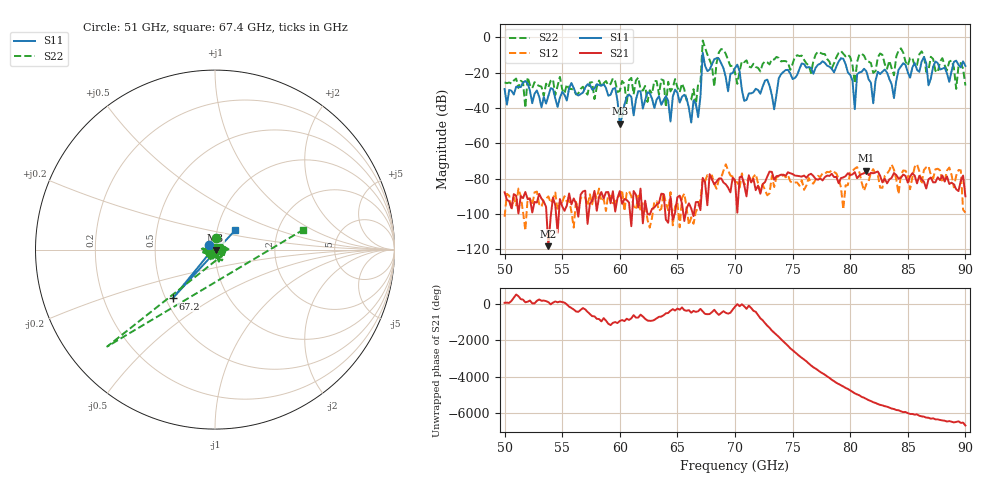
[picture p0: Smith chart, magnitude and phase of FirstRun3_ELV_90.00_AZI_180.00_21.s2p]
! 11/24/2026 3:36:22 PM
! C:\ANRITSUVNA\TEMP\TEMP.S2P
! CHANNEL.1
! TR.MEASUREMENT
! RAW.DATA
# HZ S RI R 50.0
! FREQ.HZ  S11RE  S11IM  S21RE  S21IM  S12RE  S12IM  S22RE  S22IM
!; PortSelection: Port_12
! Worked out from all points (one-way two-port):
!   201 points, 50 GHz to 90 GHz, reference 50 ohm
!   highest |S21| = -75.56 dB at 81.4 GHz (marker M1); lowest = -118.3 dB at 53.8 GHz (marker M2)
!   lowest |S11| = -49.0 dB at 60 GHz (marker M3), VSWR 1.01, Z = 50.3 - j0.153 ohm
!   |S11| at or under -10 dB: start of sweep to 67.19 GHz; 67.23 GHz to end of sweep
!   |S22| runs from -40.0 to -1.9 dB; largest |S21 - S12| = 0.00031
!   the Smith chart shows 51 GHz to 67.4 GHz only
!   S11 on the Smith chart (normalised r, x): 51 GHz: 0.94, +0.05; 67.2 GHz: 0.54, -0.34; 67.4 GHz: 1.22, +0.27
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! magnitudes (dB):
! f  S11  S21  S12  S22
! 50 GHz  -29.4  -87.8  -101.7  -25.6
! 51 GHz  -28.1  -89.7  -95.3  -23.4
! 53.8 GHz  -33.1  -118.3  -90.1  -28.4
! 56.8 GHz  -31.4  -87.3  -90.0  -28.0
! 59.6 GHz  -28.8  -98.7  -94.0  -25.0
! 60 GHz  -49.0  -87.1  -89.7  -30.5
! 63.4 GHz  -33.4  -93.8  -98.3  -32.6
! 66.8 GHz  -45.3  -93.3  -96.0  -26.5
! 67.2 GHz  -8.9  -79.6  -80.2  -1.9
! 67.4 GHz  -16.1  -82.0  -81.6  -5.9
! 68.2 GHz  -12.5  -83.3  -83.0  -28.0
! 68.8 GHz  -14.8  -79.9  -79.6  -6.7
! 70 GHz  -17.4  -80.9  -82.0  -19.9
! 73.4 GHz  -40.8  -80.7  -84.8  -12.6
! 74.2 GHz  -19.7  -77.9  -77.8  -13.5
! 76.8 GHz  -20.7  -78.5  -82.9  -13.6
! 79.4 GHz  -12.2  -79.4  -97.5  -9.4
! 80.4 GHz  -40.7  -76.4  -74.4  -26.2
! 81.4 GHz  -19.3  -75.6  -83.3  -13.3
! 82 GHz  -37.4  -77.0  -74.7  -20.2
! 83.4 GHz  -23.7  -80.5  -75.4  -13.3
! 90 GHz  -16.3  -90.1  -99.4  -27.3
